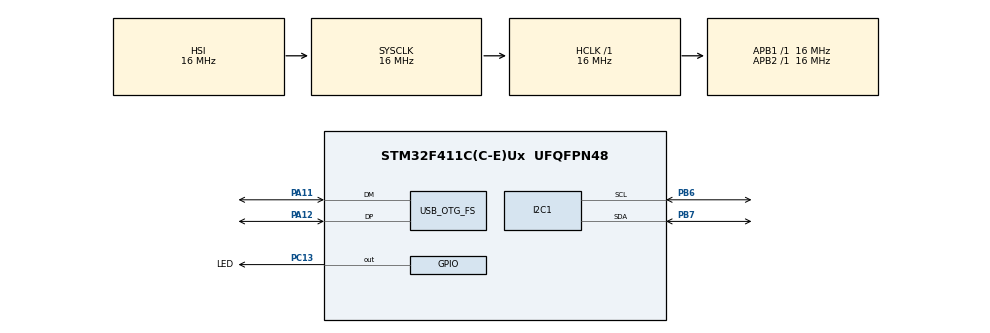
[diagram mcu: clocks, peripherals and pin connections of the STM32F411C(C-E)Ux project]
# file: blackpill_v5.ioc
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Mcu.Family=STM32F4
Mcu.Name=STM32F411C(C-E)Ux
Mcu.Package=UFQFPN48
NVIC.OTG_FS_IRQn=true\:0\:0\:false\:false\:true\:false\:true\:true
NVIC.PriorityGroup=NVIC_PRIORITYGROUP_4
PA11.Mode=Device_Only
PA11.Signal=USB_OTG_FS_DM
PA12.Mode=Device_Only
PA12.Signal=USB_OTG_FS_DP
PB6.Mode=I2C
PB6.Signal=I2C1_SCL
PB7.Mode=I2C
PB7.Signal=I2C1_SDA
PC13-ANTI_TAMP.GPIO_Label=LED
PC13-ANTI_TAMP.Signal=GPIO_Output
PH0\ -\ OSC_IN.Mode=HSE-External-Oscillator
PH0\ -\ OSC_IN.Signal=RCC_OSC_IN
PH1\ -\ OSC_OUT.Mode=HSE-External-Oscillator
PH1\ -\ OSC_OUT.Signal=RCC_OSC_OUT
ProjectManager.HeapSize=0x200
ProjectManager.StackSize=0x400
ProjectManager.TargetToolchain=CMake
RCC.48MHZClocksFreq_Value=48000000
RCC.AHBFreq_Value=16000000
RCC.APB1Freq_Value=16000000
RCC.APB2Freq_Value=16000000
RCC.CortexFreq_Value=16000000
RCC.HSE_VALUE=25000000
RCC.HSI_VALUE=16000000
RCC.LSE_VALUE=32768
RCC.PLLM=15
RCC.PLLN=144
RCC.PLLQ=5
RCC.SYSCLKFreq_VALUE=16000000
RCC.VCOOutputFreq_Value=240000000
USB_DEVICE.CLASS_NAME_FS=CDC
USB_DEVICE.VirtualMode=Cdc
USB_DEVICE.VirtualModeFS=Cdc_FS
USB_OTG_FS.VirtualMode=Device_Only
VP_USB_DEVICE_VS_USB_DEVICE_CDC_FS.Mode=CDC_FS
board=custom

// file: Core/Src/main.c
/* USER CODE BEGIN Header */
/**
 ******************************************************************************
 * @file           : main.c
 * @brief          : Main program body
 ******************************************************************************
 * @attention
 *
 * Copyright (c) 2025 STMicroelectronics.
 * All rights reserved.
 *
 * This software is licensed under terms that can be found in the LICENSE file
 * in the root directory of this software component.
 * If no LICENSE file comes with this software, it is provided AS-IS.
 *
 ******************************************************************************
 */
/* USER CODE END Header */
#include "main.h"
#include "i2c.h"
#include "usb_device.h"
#include "gpio.h"

/* USER CODE BEGIN Includes */
#include "usbd_cdc_if.h"
#include "ads1115.h"
#include <stdio.h>
#include <string.h>
/* USER CODE END Includes */

/* USER CODE BEGIN PD */
#define ADC_READ_INTERVAL 1000 // Czas między odczytami w ms
/* USER CODE END PD */

void SystemClock_Config(void);
/* USER CODE BEGIN PFP */
void SendUSBMessage(char *message);
/* USER CODE END PFP */

/* USER CODE BEGIN 0 */

void floatToString(float value, char *buffer)
{
  int intPart = (int)value;                 // Część całkowita
  float fracPart = value - intPart;         // Część ułamkowa
  int fracPartInt = (int)(fracPart * 1000); // Przekształcenie części ułamkowej na liczbę całkowitą

  // Składanie stringa ręcznie
  sprintf(buffer, "%d.%03d", intPart, abs(fracPartInt));
}

void I2C_Scan(I2C_HandleTypeDef *hi2c)
{
  char msg[64];
  for (uint8_t addr = 1; addr < 128; addr++)
  {
    if (HAL_I2C_IsDeviceReady(hi2c, addr << 1, 1, 10) == HAL_OK)
    {
      sprintf(msg, "I2C device found at 0x%02X\r\n", addr);
      SendUSBMessage(msg);
    }
  }
}

/* USER CODE END 0 */

int main(void)
{

  /* MCU Configuration--------------------------------------------------------*/

  /* Reset of all peripherals, Initializes the Flash interface and the Systick. */
  HAL_Init();

  /* Configure the system clock */
  SystemClock_Config();

  /* USER CODE BEGIN SysInit */
  MX_USB_DEVICE_Init();
  /* USER CODE END SysInit */

  /* Initialize all configured peripherals */
  MX_GPIO_Init();
  MX_USB_DEVICE_Init();
  MX_I2C1_Init();
  /* USER CODE BEGIN 2 */

  // Inicjalizacja ADS1115 i sprawdzenie statusu
  char msg[100];
  SendUSBMessage("System initialized...\r\n");
  HAL_Delay(500); // Daj czas na stabilizację komunikacji USB

  // Inicjalizacja ADS1115
  ADS1115_Status status = ADS1115_Init();
  if (status != ADS1115_OK)
  {
    sprintf(msg, "ADS1115 init error: %s\r\n", ADS1115_GetErrorString(status));
    SendUSBMessage(msg);
    // Wyślij dodatkowe informacje debugowania
    ADS1115_PrintDebugInfo();
  }
  else
  {
    SendUSBMessage("ADS1115 initialized successfully\r\n");
  }

  uint32_t lastReadTime = 0;
  int16_t adc_value;
  float voltage;
  bool conected;

  /* USER CODE END 2 */

  /* Infinite loop */
  /* USER CODE BEGIN WHILE */

  while (1)
  {
    // SendUSBMessage("Scanning I2C bus...\r\n");
    // I2C_Scan(&hi2c1);

    // conected = ADS1115_IsDeviceConnected();

    // Miganie LED jako wskaźnik działania
    HAL_GPIO_TogglePin(LED_GPIO_Port, LED_Pin);

    // Sprawdź, czy minął czas na kolejny odczyt
    uint32_t currentTime = HAL_GetTick();
    if (currentTime - lastReadTime >= ADC_READ_INTERVAL)
    {
      lastReadTime = currentTime;

      // Sprawdź, czy urządzenie jest podłączone
      if (!ADS1115_IsDeviceConnected())
      {
        SendUSBMessage("ADS1115 not detected! Checking connection...\r\n");

        // Próba ponownej inicjalizacji
        status = ADS1115_Init();
        if (status != ADS1115_OK)
        {
          sprintf(msg, "ADS1115 reconnect failed: %s\r\n", ADS1115_GetErrorString(status));
          SendUSBMessage(msg);
        }
        else
        {
          SendUSBMessage("ADS1115 reconnected successfully\r\n");
        }
        continue; // Przejdź do następnej iteracji pętli
      }

      // Odczyt wartości z kanału A0 z obsługą błędów
      adc_value = ADS1115_ReadADC_A0(&status);

      // Sprawdź status odczytu
      if (status != ADS1115_OK)
      {
        sprintf(msg, "ADC read error: %s\r\n", ADS1115_GetErrorString(status));
        SendUSBMessage(msg);

        // W przypadku problemów, wyślij informacje debugowania
        if (status == ADS1115_ERROR_TIMEOUT || status == ADS1115_ERROR_I2C)
        {
          ADS1115_PrintDebugInfo();
        }
      }
      else
      {
        // Konwersja surowego odczytu na napięcie
        voltage = ADS1115_ConvertToVoltage(adc_value, ADS1115_PGA_4_096V);

        char voltage_str[50];
        floatToString(voltage, voltage_str);

        // Przygotowanie komunikatu do wysłania przez USB
        sprintf(msg, "ADC Value: %d, Voltage: %s V\r\n", adc_value, voltage_str);
        SendUSBMessage(msg);
      }
    }

    // Krótkie opóźnienie dla oszczędzania zasobów procesora
    HAL_Delay(50);

    /* USER CODE END WHILE */

  }
}

void SystemClock_Config(void)
{
  RCC_OscInitTypeDef RCC_OscInitStruct = {0};
  RCC_ClkInitTypeDef RCC_ClkInitStruct = {0};

  /** Configure the main internal regulator output voltage
   */
  __HAL_RCC_PWR_CLK_ENABLE();
  __HAL_PWR_VOLTAGESCALING_CONFIG(PWR_REGULATOR_VOLTAGE_SCALE1);

  /** Initializes the RCC Oscillators according to the specified parameters
   * in the RCC_OscInitTypeDef structure.
   */
  RCC_OscInitStruct.OscillatorType = RCC_OSCILLATORTYPE_HSI | RCC_OSCILLATORTYPE_HSE;
  RCC_OscInitStruct.HSEState = RCC_HSE_ON;
  RCC_OscInitStruct.HSIState = RCC_HSI_ON;
  RCC_OscInitStruct.HSICalibrationValue = RCC_HSICALIBRATION_DEFAULT;
  RCC_OscInitStruct.PLL.PLLState = RCC_PLL_ON;
  RCC_OscInitStruct.PLL.PLLSource = RCC_PLLSOURCE_HSE;
  RCC_OscInitStruct.PLL.PLLM = 15;
  RCC_OscInitStruct.PLL.PLLN = 144;
  RCC_OscInitStruct.PLL.PLLP = RCC_PLLP_DIV2;
  RCC_OscInitStruct.PLL.PLLQ = 5;
  if (HAL_RCC_OscConfig(&RCC_OscInitStruct) != HAL_OK)
  {
    Error_Handler();
  }

  /** Initializes the CPU, AHB and APB buses clocks
   */
  RCC_ClkInitStruct.ClockType = RCC_CLOCKTYPE_HCLK | RCC_CLOCKTYPE_SYSCLK | RCC_CLOCKTYPE_PCLK1 | RCC_CLOCKTYPE_PCLK2;
  RCC_ClkInitStruct.SYSCLKSource = RCC_SYSCLKSOURCE_HSI;
  RCC_ClkInitStruct.AHBCLKDivider = RCC_SYSCLK_DIV1;
  RCC_ClkInitStruct.APB1CLKDivider = RCC_HCLK_DIV1;
  RCC_ClkInitStruct.APB2CLKDivider = RCC_HCLK_DIV1;

  if (HAL_RCC_ClockConfig(&RCC_ClkInitStruct, FLASH_LATENCY_0) != HAL_OK)
  {
    Error_Handler();
  }
}

/* USER CODE BEGIN 4 */
/**
 * @brief  Wysyła komunikat przez interfejs USB CDC
 * @param  message: Treść komunikatu do wysłania
 * @retval None
 */
void SendUSBMessage(char *message)
{
  CDC_Transmit_FS((uint8_t *)message, strlen(message));
}
/* USER CODE END 4 */

void Error_Handler(void)
{
  __disable_irq();
  while (1)
  {
  }
}
